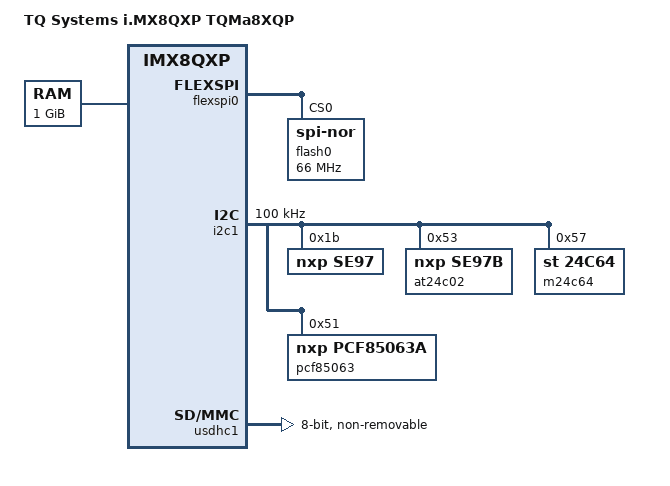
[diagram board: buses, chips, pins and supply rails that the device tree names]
// SPDX-License-Identifier: (GPL-2.0-or-later OR MIT)
/*
 * Copyright 2018-2021 TQ-Systems GmbH
 */

#include "imx8qxp.dtsi"

/ {
	model = "TQ Systems i.MX8QXP TQMa8XQP";
	compatible = "tq,tqma8xqp", "fsl,imx8qxp";

	memory@80000000 {
		device_type = "memory";
		/*
		 * DRAM base addr, size : 1024 MiB DRAM
		 * should be corrected by bootloader
		 */
		reg = <0x00000000 0x80000000 0 0x40000000>;
	};

	reserved-memory {
		/*
		 * global autoconfigured region for contiguous allocations
		 * must not exceed memory size and region
		 */
		linux,cma {
			compatible = "shared-dma-pool";
			reusable;
			size = <0 0x20000000>;
			alloc-ranges = <0 0x96000000 0 0x30000000>;
			linux,cma-default;
		};
	};
};

&iomuxc {
	pinctrl_lpi2c1: lpi2c1grp {
		fsl,pins = <
			IMX8QXP_MIPI_DSI0_GPIO0_00_ADMA_I2C1_SCL	0x06000020
			IMX8QXP_MIPI_DSI0_GPIO0_01_ADMA_I2C1_SDA	0x06000020
		>;
	};

	pinctrl_usdhc1: usdhc1grp {
		fsl,pins = <
			IMX8QXP_EMMC0_CLK_CONN_EMMC0_CLK	0x06000041
			IMX8QXP_EMMC0_CMD_CONN_EMMC0_CMD	0x00000021
			IMX8QXP_EMMC0_DATA0_CONN_EMMC0_DATA0	0x00000021
			IMX8QXP_EMMC0_DATA1_CONN_EMMC0_DATA1	0x00000021
			IMX8QXP_EMMC0_DATA2_CONN_EMMC0_DATA2	0x00000021
			IMX8QXP_EMMC0_DATA3_CONN_EMMC0_DATA3	0x00000021
			IMX8QXP_EMMC0_DATA4_CONN_EMMC0_DATA4	0x00000021
			IMX8QXP_EMMC0_DATA5_CONN_EMMC0_DATA5	0x00000021
			IMX8QXP_EMMC0_DATA6_CONN_EMMC0_DATA6	0x00000021
			IMX8QXP_EMMC0_DATA7_CONN_EMMC0_DATA7	0x00000021
			IMX8QXP_EMMC0_STROBE_CONN_EMMC0_STROBE	0x00000041
		>;
	};

	pinctrl_usdhc1_100mhz: usdhc1grp100mhz {
		fsl,pins = <
			IMX8QXP_EMMC0_CLK_CONN_EMMC0_CLK	0x06000040
			IMX8QXP_EMMC0_CMD_CONN_EMMC0_CMD	0x00000020
			IMX8QXP_EMMC0_DATA0_CONN_EMMC0_DATA0	0x00000020
			IMX8QXP_EMMC0_DATA1_CONN_EMMC0_DATA1	0x00000020
			IMX8QXP_EMMC0_DATA2_CONN_EMMC0_DATA2	0x00000020
			IMX8QXP_EMMC0_DATA3_CONN_EMMC0_DATA3	0x00000020
			IMX8QXP_EMMC0_DATA4_CONN_EMMC0_DATA4	0x00000020
			IMX8QXP_EMMC0_DATA5_CONN_EMMC0_DATA5	0x00000020
			IMX8QXP_EMMC0_DATA6_CONN_EMMC0_DATA6	0x00000020
			IMX8QXP_EMMC0_DATA7_CONN_EMMC0_DATA7	0x00000020
			IMX8QXP_EMMC0_STROBE_CONN_EMMC0_STROBE	0x00000040
		>;
	};

	pinctrl_usdhc1_200mhz: usdhc1grp200mhz {
		fsl,pins = <
			IMX8QXP_EMMC0_CLK_CONN_EMMC0_CLK	0x06000040
			IMX8QXP_EMMC0_CMD_CONN_EMMC0_CMD	0x00000020
			IMX8QXP_EMMC0_DATA0_CONN_EMMC0_DATA0	0x00000020
			IMX8QXP_EMMC0_DATA1_CONN_EMMC0_DATA1	0x00000020
			IMX8QXP_EMMC0_DATA2_CONN_EMMC0_DATA2	0x00000020
			IMX8QXP_EMMC0_DATA3_CONN_EMMC0_DATA3	0x00000020
			IMX8QXP_EMMC0_DATA4_CONN_EMMC0_DATA4	0x00000020
			IMX8QXP_EMMC0_DATA5_CONN_EMMC0_DATA5	0x00000020
			IMX8QXP_EMMC0_DATA6_CONN_EMMC0_DATA6	0x00000020
			IMX8QXP_EMMC0_DATA7_CONN_EMMC0_DATA7	0x00000020
			IMX8QXP_EMMC0_STROBE_CONN_EMMC0_STROBE	0x00000040
		>;
	};

	pinctrl_flexspi0: flexspi0grp {
		fsl,pins = <
			IMX8QXP_QSPI0A_DATA0_LSIO_QSPI0A_DATA0	0x0600004c
			IMX8QXP_QSPI0A_DATA1_LSIO_QSPI0A_DATA1	0x0600004c
			IMX8QXP_QSPI0A_DATA2_LSIO_QSPI0A_DATA2	0x0600004c
			IMX8QXP_QSPI0A_DATA3_LSIO_QSPI0A_DATA3	0x0600004c
			IMX8QXP_QSPI0A_DQS_LSIO_QSPI0A_DQS	0x0600004c
			IMX8QXP_QSPI0A_SS0_B_LSIO_QSPI0A_SS0_B	0x0600004c
			IMX8QXP_QSPI0A_SS1_B_LSIO_QSPI0A_SS1_B	0x0600004c
			IMX8QXP_QSPI0A_SCLK_LSIO_QSPI0A_SCLK	0x0600004c
			IMX8QXP_QSPI0B_SCLK_LSIO_QSPI0B_SCLK	0x0600004c
			IMX8QXP_QSPI0B_DATA0_LSIO_QSPI0B_DATA0	0x0600004c
			IMX8QXP_QSPI0B_DATA1_LSIO_QSPI0B_DATA1	0x0600004c
			IMX8QXP_QSPI0B_DATA2_LSIO_QSPI0B_DATA2	0x0600004c
			IMX8QXP_QSPI0B_DATA3_LSIO_QSPI0B_DATA3	0x0600004c
			IMX8QXP_QSPI0B_DQS_LSIO_QSPI0B_DQS	0x0600004c
			IMX8QXP_QSPI0B_SS0_B_LSIO_QSPI0B_SS0_B	0x0600004c
			IMX8QXP_QSPI0B_SS1_B_LSIO_QSPI0B_SS1_B	0x0600004c
		>;
	};
};

&flexspi0 {
	pinctrl-names = "default";
	pinctrl-0 = <&pinctrl_flexspi0>;
	status = "okay";
	fsl,qspi-skip-dll-config;

	flash0: flash@0 {
		reg = <0>;
		#address-cells = <1>;
		#size-cells = <1>;
		compatible = "jedec,spi-nor";
/* TODO: try increase. n.b: MEK doesn't have spi-nor,ddr-quad-read-dummy */
/*		spi-max-frequency = <133000000>; */
		spi-max-frequency = <66000000>;
		spi-nor,ddr-quad-read-dummy = <8>;
		spi-tx-bus-width = <4>;
		spi-rx-bus-width = <4>;
	};
};

&i2c1 {
	#address-cells = <1>;
	#size-cells = <0>;
	clock-frequency = <100000>;
	pinctrl-names = "default";
	pinctrl-0 = <&pinctrl_lpi2c1>;
	status = "okay";

	/* NXP SE97BTP with temperature sensor + eeprom */
	se97: temperature-sensor-eeprom@1b {
		compatible = "nxp,se97", "jedec,jc-42.4-temp";
		reg = <0x1b>;
	};

	at24c02: eeprom@53 {
		compatible = "nxp,se97b", "atmel,24c02";
		reg = <0x53>;
		pagesize = <16>;
	};

	m24c64: eeprom@57 {
		compatible = "st,24c64", "atmel,24c64";
		reg = <0x57>;
		pagesize = <32>;
	};

	pcf85063: rtc@51 {
		compatible = "nxp,pcf85063a";
		reg = <0x51>;
	};
};

&usdhc1 {
	pinctrl-names = "default", "state_100mhz", "state_200mhz";
	pinctrl-0 = <&pinctrl_usdhc1>;
	pinctrl-1 = <&pinctrl_usdhc1_100mhz>;
	pinctrl-2 = <&pinctrl_usdhc1_200mhz>;
	bus-width = <8>;
	no-sd;
	no-sdio;
	non-removable;
	status = "okay";
};
